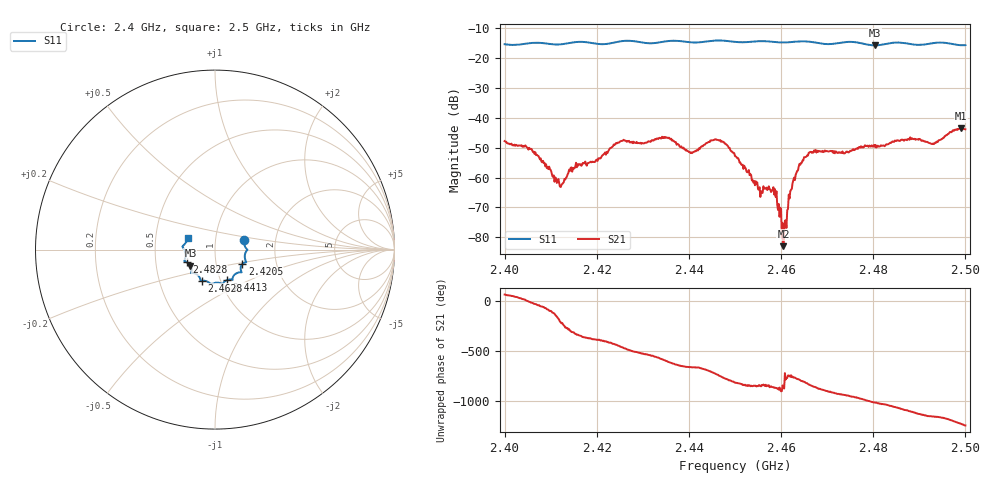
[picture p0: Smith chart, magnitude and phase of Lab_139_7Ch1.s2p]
# Hz S RI R 50
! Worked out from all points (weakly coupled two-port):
!   601 points, 2.4 GHz to 2.5 GHz, reference 50 ohm
!   highest |S21| = -43.58 dB at 2.499 GHz (marker M1); lowest = -83.0 dB at 2.4605 GHz (marker M2)
!   lowest |S11| = -15.7 dB at 2.4803 GHz (marker M3), VSWR 1.39, Z = 37.4 - j6.82 ohm
!   |S11| at or under -10 dB: start of sweep to end of sweep
!   S12 and S22 are empty: the file has one direction only
!   S11 on the Smith chart (normalised r, x): 2.4 GHz: 1.38, +0.15; 2.4205 GHz: 1.34, -0.22; 2.4413 GHz: 1.08, -0.38; 2.4628 GHz: 0.82, -0.29; 2.4828 GHz: 0.72, -0.10; 2.5 GHz: 0.73, +0.10
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2.4e9  0.1625 0.0523  0.00184 0.00364  0 0  0 0
2.405833e9  0.179 0.00167  0.00286 -0.000938  0 0  0 0
2.412333e9  0.166 -0.0403  -0.000539 0.000518  0 0  0 0
2.416667e9  0.1738 -0.0695  0.00155 0.000239  0 0  0 0
2.4205e9  0.1517 -0.0809  0.00188 -0.000965  0 0  0 0
2.4255e9  0.1477 -0.1239  -0.000943 -0.004  0 0  0 0
2.433333e9  0.1003 -0.1517  -0.00396 0.00196  0 0  0 0
2.441333e9  0.0672 -0.1695  0.00151 0.00232  0 0  0 0
2.446e9  0.0419 -0.1925  0.00415 -0.00111  0 0  0 0
2.45e9  0.0247 -0.1854  -0.000326 -0.00225  0 0  0 0
2.4555e9  -0.0187 -0.1914  -0.000312 -0.000355  0 0  0 0
2.4585e9  -0.0339 -0.1832  -0.000443 -0.00027  0 0  0 0
2.4605e9  -0.051 -0.1753  -5.87e-05 -3.96e-05  0 0  0 0
2.461e9  -0.0559 -0.1741  8.02e-05 -0.000175  0 0  0 0
2.462833e9  -0.0714 -0.1736  0.000697 -0.000712  0 0  0 0
2.466667e9  -0.0813 -0.1673  -0.0016 -0.00204  0 0  0 0
2.480333e9  -0.137 -0.0887  0.00142 0.00295  0 0  0 0
2.482833e9  -0.1585 -0.0701  0.00262 0.00246  0 0  0 0
2.483333e9  -0.1624 -0.0684  0.0029 0.0022  0 0  0 0
2.493167e9  -0.1786 0.0107  0.000935 -0.0035  0 0  0 0
2.499e9  -0.1565 0.0498  -0.00552 -0.00367  0 0  0 0
2.5e9  -0.1519 0.0641  -0.00619 -0.00176  0 0  0 0
